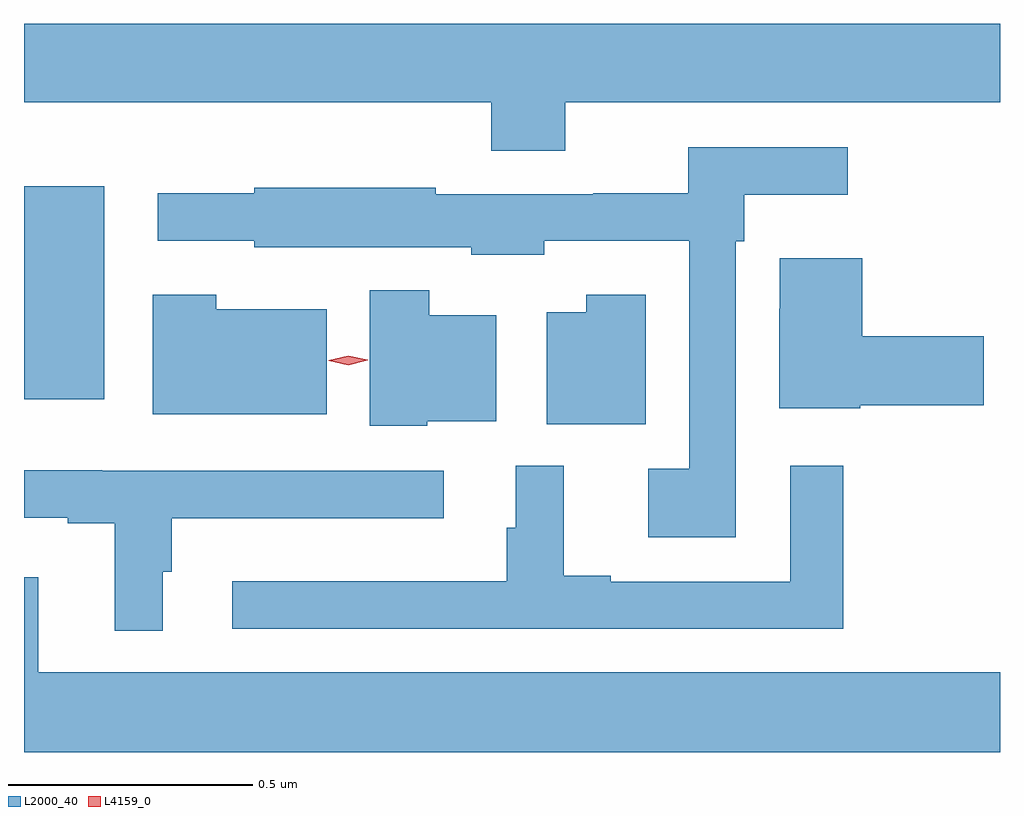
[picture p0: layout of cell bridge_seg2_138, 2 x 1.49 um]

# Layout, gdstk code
import gdstk
lib = gdstk.Library(unit=1e-6, precision=1e-09)
def R(c, l, rs):  # rectangles x0, y0, x1, y1
    for r in rs: c.add(gdstk.rectangle(r[:2], r[2:], *l))
def P(c, l, *ps):  # polygons
    for p in ps: c.add(gdstk.Polygon(p, *l))
L2000_40 = (2000, 40)
L4159_0 = (4159, 0)

bridge_seg2_138 = lib.new_cell('bridge_seg2_138')
R(bridge_seg2_138, L2000_40, [(579.572,589.751,579.736,590.188)])
P(bridge_seg2_138, L2000_40, [(580.681,590.36),(581.572,590.36),(581.572,590.521),(579.572,590.521),(579.572,590.36),(580.529,590.36),(580.529,590.261),(580.681,590.261)],
  [(581.031,590.075),(581.048,590.075),(581.048,590.171),(581.26,590.171),(581.26,590.268),(580.933,590.268),(580.933,590.174),(580.738,590.174),(580.738,590.172),(580.416,590.172),(580.416,590.185),(580.044,590.185),(580.044,590.174),(579.846,590.174),(579.846,590.076),(580.044,590.076),(580.044,590.063),(580.488,590.063),(580.488,590.048),(580.638,590.048),(580.638,590.076),(580.935,590.076),(580.935,589.609),(580.851,589.609),(580.851,589.469),(581.031,589.469)],
  [(581.286,589.739),(581.539,589.739),(581.539,589.881),(581.29,589.881),(581.29,590.04),(581.121,590.04),(581.121,589.937),(581.12,589.937),(581.12,589.733),(581.286,589.733)],
  [(580.398,589.706),(580.54,589.706),(580.54,589.924),(580.402,589.924),(580.402,589.975),(580.28,589.975),(580.28,589.697),(580.398,589.697)],
  [(580.192,589.936),(579.966,589.936),(579.966,589.966),(579.836,589.966),(579.836,589.721),(580.192,589.721)],
  [(580.846,589.966),(580.724,589.966),(580.724,589.93),(580.643,589.93),(580.643,589.7),(580.846,589.7)],
  [(581.251,589.615),(581.142,589.615),(581.142,589.377),(580.774,589.377),(580.774,589.39),(580.678,589.39),(580.678,589.615),(580.58,589.615),(580.58,589.488),(580.561,589.488),(580.561,589.378),(579.999,589.378),(579.999,589.281),(581.251,589.281)],
  [(579.856,589.398),(579.875,589.398),(579.875,589.508),(580.432,589.508),(580.432,589.605),(579.732,589.605),(579.732,589.606),(579.572,589.606),(579.572,589.509),(579.662,589.509),(579.662,589.497),(579.758,589.497),(579.758,589.277),(579.856,589.277)],
  [(581.572,589.192),(579.601,589.192),(579.601,589.387),(579.572,589.387),(579.572,589.028),(581.572,589.028)])
P(bridge_seg2_138, L4159_0, [(580.236,589.821),(580.196,589.83),(580.196,589.831),(580.196,589.831),(580.236,589.841),(580.276,589.832),(580.276,589.831),(580.276,589.831)])

lib.write_gds('bridge_seg2_138.gds')
